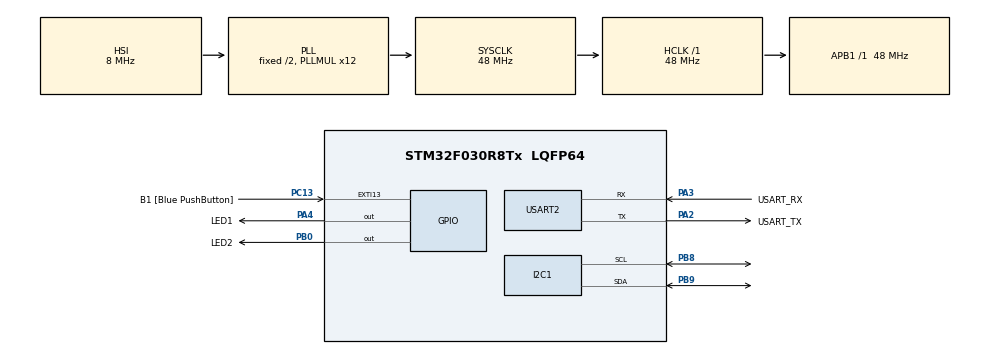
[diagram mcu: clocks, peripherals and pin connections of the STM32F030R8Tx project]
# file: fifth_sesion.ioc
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Dma.Request0=USART2_RX
Dma.USART2_RX.0.Direction=DMA_PERIPH_TO_MEMORY
Dma.USART2_RX.0.Instance=DMA1_Channel5
Dma.USART2_RX.0.MemDataAlignment=DMA_MDATAALIGN_BYTE
Dma.USART2_RX.0.MemInc=DMA_MINC_ENABLE
Dma.USART2_RX.0.Mode=DMA_CIRCULAR
Dma.USART2_RX.0.PeriphDataAlignment=DMA_PDATAALIGN_BYTE
Dma.USART2_RX.0.PeriphInc=DMA_PINC_DISABLE
Dma.USART2_RX.0.Priority=DMA_PRIORITY_LOW
I2C1.Timing=0x00201D2B
Mcu.Family=STM32F0
Mcu.Name=STM32F030R8Tx
Mcu.Package=LQFP64
NVIC.DMA1_Channel4_5_IRQn=true\:0\:0\:false\:false\:true\:false\:true\:true
PA13.GPIO_Label=TMS
PA13.Mode=Serial_Wire
PA13.Signal=SYS_SWDIO
PA14.GPIO_Label=TCK
PA14.Mode=Serial_Wire
PA14.Signal=SYS_SWCLK
PA2.GPIO_Label=USART_TX
PA2.GPIO_Mode=GPIO_MODE_AF_PP
PA2.GPIO_PuPd=GPIO_NOPULL
PA2.GPIO_Speed=GPIO_SPEED_FREQ_LOW
PA2.Mode=Asynchronous
PA2.Signal=USART2_TX
PA3.GPIO_Label=USART_RX
PA3.GPIO_Mode=GPIO_MODE_AF_PP
PA3.GPIO_PuPd=GPIO_NOPULL
PA3.GPIO_Speed=GPIO_SPEED_FREQ_LOW
PA3.Mode=Asynchronous
PA3.Signal=USART2_RX
PA4.GPIO_Label=LED1
PA4.Signal=GPIO_Output
PB0.GPIO_Label=LED2
PB0.Signal=GPIO_Output
PB8.Mode=I2C
PB8.Signal=I2C1_SCL
PB9.Mode=I2C
PB9.Signal=I2C1_SDA
PC13.GPIO_Label=B1 [Blue PushButton]
PC13.GPIO_ModeDefaultEXTI=GPIO_MODE_IT_FALLING
PC13.Signal=GPXTI13
PC14-OSC32_IN.Mode=LSE-External-Oscillator
PC14-OSC32_IN.Signal=RCC_OSC32_IN
PC15-OSC32_OUT.Mode=LSE-External-Oscillator
PC15-OSC32_OUT.Signal=RCC_OSC32_OUT
PF0-OSC_IN.Mode=HSE-External-Clock-Source
PF0-OSC_IN.Signal=RCC_OSC_IN
PF1-OSC_OUT.Signal=RCC_OSC_OUT
ProjectManager.HeapSize=0x200
ProjectManager.StackSize=0x400
ProjectManager.TargetToolchain=STM32CubeIDE
RCC.AHBFreq_Value=48000000
RCC.APB1Freq_Value=48000000
RCC.APB1TimFreq_Value=48000000
RCC.HCLKFreq_Value=48000000
RCC.PLLMUL=RCC_PLL_MUL12
RCC.SYSCLKFreq_VALUE=48000000
RCC.SYSCLKSource=RCC_SYSCLKSOURCE_PLLCLK
USART2.VirtualMode-Asynchronous=VM_ASYNC
board=NUCLEO-F030R8

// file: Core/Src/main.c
/* USER CODE BEGIN Header */
/**
 ******************************************************************************
 * @file           : main.c
 * @brief          : Main program body
 ******************************************************************************
 * @attention
 *
 * Copyright (c) 2024 STMicroelectronics.
 * All rights reserved.
 *
 * This software is licensed under terms that can be found in the LICENSE file
 * in the root directory of this software component.
 * If no LICENSE file comes with this software, it is provided AS-IS.
 *
 ******************************************************************************
 */
/* USER CODE END Header */
#include "main.h"

/* USER CODE BEGIN Includes */
#include <stdio.h>
#include <string.h>
#include <stdlib.h>
/* USER CODE END Includes */

/* USER CODE BEGIN PD */
#define RX_BUFFER_LEN 64
#define uart_rx_write_ptr (RX_BUFFER_LEN - hdma_usart2_rx.Instance->CNDTR)
#define CMD_BUFFER_LEN 64
#define EEPROM_ADDR 0xA0
/* USER CODE END PD */

I2C_HandleTypeDef hi2c1;

UART_HandleTypeDef huart2;
DMA_HandleTypeDef hdma_usart2_rx;

/* USER CODE BEGIN PV */
static uint8_t uart_rx_buf[RX_BUFFER_LEN];
static volatile uint16_t uart_rx_read_ptr = 0;
/* USER CODE END PV */

void SystemClock_Config(void);
static void MX_GPIO_Init(void);
static void MX_DMA_Init(void);
static void MX_USART2_UART_Init(void);
static void MX_I2C1_Init(void);

/* USER CODE BEGIN 0 */
int _write(int file,char const *buf, int n ){
	HAL_UART_Transmit(&huart2,(uint8_t*) (buf), n, HAL_MAX_DELAY);
	return n;
}
static void uart_process_command(const char *data){
	char *token;
	static uint8_t stateLED1 = 0;
	static uint8_t stateLED2 = 0;
	token = strtok(data," ");

	//printf("received: '%s'\n", data);

	if (strcasecmp("HELLO",token)==0){
		printf("HELLO, Welcome to the HELL");
		printf("\n");
	}else if (strcasecmp("LED1",token)==0) {
		token = strtok(NULL," ");
		if (strcasecmp("ON",token)==0){
			HAL_GPIO_WritePin(LED1_GPIO_Port, LED1_Pin, 1);
			stateLED1 = 1;
		}else if (strcasecmp("OFF",token)==0) {
			HAL_GPIO_WritePin(LED1_GPIO_Port, LED1_Pin, 0);
			stateLED1 = 0;
		}else {
			printf("command not supported");
			printf("\n");
		}
	}else if (strcasecmp("LED2",token)==0) {
		token = strtok(NULL," ");
		if (strcasecmp("ON",token)==0){
			HAL_GPIO_WritePin(LED2_GPIO_Port, LED2_Pin, 1);
			stateLED2 =1;
		}else if (strcasecmp("OFF",token)==0){
			HAL_GPIO_WritePin(LED2_GPIO_Port, LED2_Pin, 0);
			stateLED2 = 0;
		}else {
			printf("command not supported");
			printf("\n");
		}
	}else if (strcasecmp("STATUS",token)==0) {
		if ((stateLED1 || stateLED2) == 0){
			printf("both LED is OFF");
			printf("\n");
			return;
		}
		if ((stateLED1 && stateLED2) == 1){
			printf("both LED is ON");
			printf("\n");
			return;
		}
		if (stateLED1 == 1 && stateLED2 == 0){
			printf(" LED1 is ON");
			printf("\n");
		}else {
			printf(" LED1 is OFF");
			printf("\n");
		}
		if (stateLED2 == 1 && stateLED2 == 0){
			printf(" LED2 is ON");
			printf("\n");

		}else {
			printf(" LED2 is OFF");
			printf("\n");
		}

	}else if (strcasecmp("READ",token)==0) {
		token = strtok(NULL," ");
		uint8_t values;
		uint8_t addr = atoi(token);

		//HAL_I2C_Mem_Read(&hi2c1, EEPROM_ADDR, addr, I2C_MEMADD_SIZE_16BIT, values, sizeof(values), 1000);
		HAL_I2C_Mem_Read(&hi2c1, EEPROM_ADDR, addr, I2C_MEMADD_SIZE_16BIT, &values, sizeof(values), 1000);
		printf("Addr: 000x%02X = 0X%02X\n", addr, values);
		printf("\n");
	}else if (strcasecmp("WRITE",token)==0) {
		token = strtok(NULL," ");
		uint8_t addr = atoi(token);
		token = strtok(NULL," ");
		uint8_t data = atoi(token);
		//HAL_I2C_Mem_Write(&hi2c1, EEPROM_ADDR, addr, I2C_MEMADD_SIZE_16BIT, data, sizeof(data), 1000);
		HAL_I2C_Mem_Write(&hi2c1, EEPROM_ADDR, addr, I2C_MEMADD_SIZE_16BIT, &data, sizeof(data), 1000);
		while (HAL_I2C_IsDeviceReady(&hi2c1, EEPROM_ADDR, 300, 1000) == HAL_TIMEOUT) {}
		printf("write successful");
		printf("\n");
	}else if (strcasecmp("DUMP",token)==0) {
		uint8_t values;
		uint16_t addr = 0x0000;
		while (addr != 0x0010){
			HAL_I2C_Mem_Read(&hi2c1, EEPROM_ADDR, addr, I2C_MEMADD_SIZE_16BIT, &values, sizeof(values), 1000);
			if (addr % 8 == 0 && addr != 0x0000){
				printf("\n");
			}
			printf("%02X  ",values);
			addr = addr + 0x0001;
		}
		printf("\n");
	}else {
		printf("command not supported");
		printf("\n");
	}
}

static void uart_byte_available(uint8_t c)
{
	static uint16_t cnt;
	static char data[CMD_BUFFER_LEN];
	if (cnt < CMD_BUFFER_LEN && c >= 32 && c <= 126) data[cnt++] = c;
	if ((c == '\n' || c == '\r') && cnt > 0) {
		data[cnt] = '\0';
		uart_process_command(data);
		cnt = 0;
	}
}

/* USER CODE END 0 */

int main(void)
{

	/* MCU Configuration--------------------------------------------------------*/

	/* Reset of all peripherals, Initializes the Flash interface and the Systick. */
	HAL_Init();

	/* Configure the system clock */
	SystemClock_Config();

	/* Initialize all configured peripherals */
	MX_GPIO_Init();
	MX_DMA_Init();
	MX_USART2_UART_Init();
	MX_I2C1_Init();
	/* USER CODE BEGIN 2 */
	HAL_UART_Receive_DMA(&huart2, uart_rx_buf, RX_BUFFER_LEN);
	/* USER CODE END 2 */

	/* Infinite loop */
	/* USER CODE BEGIN WHILE */
	while (1)
	{
		while (uart_rx_read_ptr != uart_rx_write_ptr) {
			uint8_t b = uart_rx_buf[uart_rx_read_ptr];
			// increase read pointer
			if (++uart_rx_read_ptr >= RX_BUFFER_LEN) uart_rx_read_ptr = 0;
			// process every received byte with the RX state machine

			uart_byte_available(b);
		}
		/* USER CODE END WHILE */

	}
}

void SystemClock_Config(void)
{
	RCC_OscInitTypeDef RCC_OscInitStruct = {0};
	RCC_ClkInitTypeDef RCC_ClkInitStruct = {0};
	RCC_PeriphCLKInitTypeDef PeriphClkInit = {0};

	/** Initializes the RCC Oscillators according to the specified parameters
	 * in the RCC_OscInitTypeDef structure.
	 */
	RCC_OscInitStruct.OscillatorType = RCC_OSCILLATORTYPE_HSI;
	RCC_OscInitStruct.HSIState = RCC_HSI_ON;
	RCC_OscInitStruct.HSICalibrationValue = RCC_HSICALIBRATION_DEFAULT;
	RCC_OscInitStruct.PLL.PLLState = RCC_PLL_ON;
	RCC_OscInitStruct.PLL.PLLSource = RCC_PLLSOURCE_HSI;
	RCC_OscInitStruct.PLL.PLLMUL = RCC_PLL_MUL12;
	RCC_OscInitStruct.PLL.PREDIV = RCC_PREDIV_DIV1;
	if (HAL_RCC_OscConfig(&RCC_OscInitStruct) != HAL_OK)
	{
		Error_Handler();
	}

	/** Initializes the CPU, AHB and APB buses clocks
	 */
	RCC_ClkInitStruct.ClockType = RCC_CLOCKTYPE_HCLK|RCC_CLOCKTYPE_SYSCLK
			|RCC_CLOCKTYPE_PCLK1;
	RCC_ClkInitStruct.SYSCLKSource = RCC_SYSCLKSOURCE_PLLCLK;
	RCC_ClkInitStruct.AHBCLKDivider = RCC_SYSCLK_DIV1;
	RCC_ClkInitStruct.APB1CLKDivider = RCC_HCLK_DIV1;

	if (HAL_RCC_ClockConfig(&RCC_ClkInitStruct, FLASH_LATENCY_1) != HAL_OK)
	{
		Error_Handler();
	}
	PeriphClkInit.PeriphClockSelection = RCC_PERIPHCLK_I2C1;
	PeriphClkInit.I2c1ClockSelection = RCC_I2C1CLKSOURCE_HSI;
	if (HAL_RCCEx_PeriphCLKConfig(&PeriphClkInit) != HAL_OK)
	{
		Error_Handler();
	}
}

static void MX_I2C1_Init(void)
{

	hi2c1.Instance = I2C1;
	hi2c1.Init.Timing = 0x00201D2B;
	hi2c1.Init.OwnAddress1 = 0;
	hi2c1.Init.AddressingMode = I2C_ADDRESSINGMODE_7BIT;
	hi2c1.Init.DualAddressMode = I2C_DUALADDRESS_DISABLE;
	hi2c1.Init.OwnAddress2 = 0;
	hi2c1.Init.OwnAddress2Masks = I2C_OA2_NOMASK;
	hi2c1.Init.GeneralCallMode = I2C_GENERALCALL_DISABLE;
	hi2c1.Init.NoStretchMode = I2C_NOSTRETCH_DISABLE;
	if (HAL_I2C_Init(&hi2c1) != HAL_OK)
	{
		Error_Handler();
	}

	/** Configure Analogue filter
	 */
	if (HAL_I2CEx_ConfigAnalogFilter(&hi2c1, I2C_ANALOGFILTER_ENABLE) != HAL_OK)
	{
		Error_Handler();
	}

	/** Configure Digital filter
	 */
	if (HAL_I2CEx_ConfigDigitalFilter(&hi2c1, 0) != HAL_OK)
	{
		Error_Handler();
	}

}

static void MX_USART2_UART_Init(void)
{

	huart2.Instance = USART2;
	huart2.Init.BaudRate = 38400;
	huart2.Init.WordLength = UART_WORDLENGTH_8B;
	huart2.Init.StopBits = UART_STOPBITS_1;
	huart2.Init.Parity = UART_PARITY_NONE;
	huart2.Init.Mode = UART_MODE_TX_RX;
	huart2.Init.HwFlowCtl = UART_HWCONTROL_NONE;
	huart2.Init.OverSampling = UART_OVERSAMPLING_16;
	huart2.Init.OneBitSampling = UART_ONE_BIT_SAMPLE_DISABLE;
	huart2.AdvancedInit.AdvFeatureInit = UART_ADVFEATURE_NO_INIT;
	if (HAL_UART_Init(&huart2) != HAL_OK)
	{
		Error_Handler();
	}

}

static void MX_DMA_Init(void)
{

	/* DMA controller clock enable */
	__HAL_RCC_DMA1_CLK_ENABLE();

	/* DMA interrupt init */
	/* DMA1_Channel4_5_IRQn interrupt configuration */
	HAL_NVIC_SetPriority(DMA1_Channel4_5_IRQn, 0, 0);
	HAL_NVIC_EnableIRQ(DMA1_Channel4_5_IRQn);

}

static void MX_GPIO_Init(void)
{
	GPIO_InitTypeDef GPIO_InitStruct = {0};

	/* GPIO Ports Clock Enable */
	__HAL_RCC_GPIOC_CLK_ENABLE();
	__HAL_RCC_GPIOF_CLK_ENABLE();
	__HAL_RCC_GPIOA_CLK_ENABLE();
	__HAL_RCC_GPIOB_CLK_ENABLE();

	/*Configure GPIO pin Output Level */
	HAL_GPIO_WritePin(LED1_GPIO_Port, LED1_Pin, GPIO_PIN_RESET);

	/*Configure GPIO pin Output Level */
	HAL_GPIO_WritePin(LED2_GPIO_Port, LED2_Pin, GPIO_PIN_RESET);

	/*Configure GPIO pin : B1_Pin */
	GPIO_InitStruct.Pin = B1_Pin;
	GPIO_InitStruct.Mode = GPIO_MODE_IT_FALLING;
	GPIO_InitStruct.Pull = GPIO_NOPULL;
	HAL_GPIO_Init(B1_GPIO_Port, &GPIO_InitStruct);

	/*Configure GPIO pin : LED1_Pin */
	GPIO_InitStruct.Pin = LED1_Pin;
	GPIO_InitStruct.Mode = GPIO_MODE_OUTPUT_PP;
	GPIO_InitStruct.Pull = GPIO_NOPULL;
	GPIO_InitStruct.Speed = GPIO_SPEED_FREQ_LOW;
	HAL_GPIO_Init(LED1_GPIO_Port, &GPIO_InitStruct);

	/*Configure GPIO pin : LED2_Pin */
	GPIO_InitStruct.Pin = LED2_Pin;
	GPIO_InitStruct.Mode = GPIO_MODE_OUTPUT_PP;
	GPIO_InitStruct.Pull = GPIO_NOPULL;
	GPIO_InitStruct.Speed = GPIO_SPEED_FREQ_LOW;
	HAL_GPIO_Init(LED2_GPIO_Port, &GPIO_InitStruct);

}

void Error_Handler(void)
{
	__disable_irq();
	while (1)
	{
	}
}
